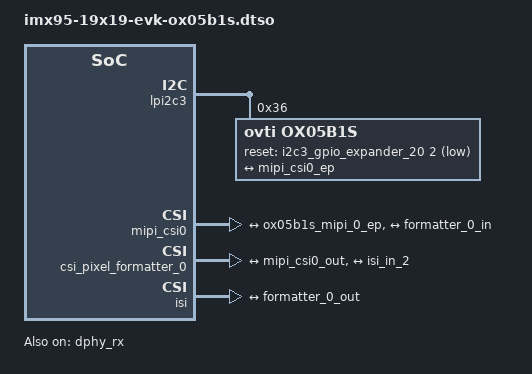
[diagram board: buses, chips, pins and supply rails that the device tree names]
// SPDX-License-Identifier: (GPL-2.0+ OR MIT)
/*
 * Copyright 2023 NXP
 */

/dts-v1/;
/plugin/;

#include <dt-bindings/gpio/gpio.h>

&lpi2c3 {
	#address-cells = <1>;
	#size-cells = <0>;
	status = "okay";

	ox05b1s: ox05b1s@36 {
		compatible = "ovti,ox05b1s";
		reg = <0x36>;
		reset-gpios = <&i2c3_gpio_expander_20 2 GPIO_ACTIVE_LOW>;
		orientation = <2>;
		rotation = <0>;
		status = "okay";

		port {
			ox05b1s_mipi_0_ep: endpoint {
				remote-endpoint = <&mipi_csi0_ep>;
				data-lanes = <1 2 3 4>;
				clock-lanes = <0>;
			};
		};
	};
};

&dphy_rx {
	status = "okay";
};

&mipi_csi0 {
	status = "okay";

	ports {
		#address-cells = <1>;
		#size-cells = <0>;

		port@0 {
			reg = <0>;
			mipi_csi0_ep: endpoint {
				remote-endpoint = <&ox05b1s_mipi_0_ep>;
				data-lanes = <1 2 3 4>;
				clock-lanes = <0>;
			};
		};

		port@1 {
			reg = <1>;
				mipi_csi0_out: endpoint {
				remote-endpoint = <&formatter_0_in>;
			};
		};
	};
};

&csi_pixel_formatter_0 {
	status = "okay";

	ports {
		#address-cells = <1>;
		#size-cells = <0>;

		port@0 {
			reg = <0>;

			formatter_0_in: endpoint {
				remote-endpoint = <&mipi_csi0_out>;
			};
		};

		port@1 {
			reg = <1>;

			formatter_0_out: endpoint {
				remote-endpoint = <&isi_in_2>;
			};
		};
	};
};

&isi {
	status = "okay";

	ports {
		#address-cells = <1>;
		#size-cells = <0>;

		port@2 {
			reg = <2>;

			isi_in_2: endpoint {
				remote-endpoint = <&formatter_0_out>;
			};
		};
	};
};
